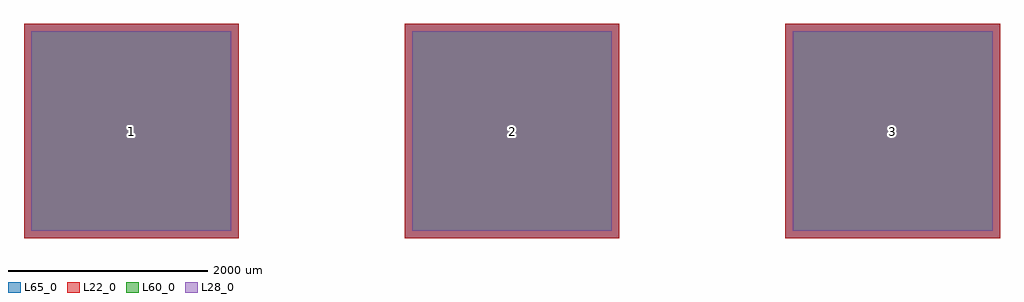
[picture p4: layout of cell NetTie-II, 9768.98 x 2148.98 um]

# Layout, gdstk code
import gdstk
lib = gdstk.Library(unit=1e-6, precision=1e-09)
def R(c, l, rs):  # rectangles x0, y0, x1, y1
    for r in rs: c.add(gdstk.rectangle(r[:2], r[2:], *l))
def A(c, l, x, y, w, h, nx, ny, dx, dy):  # array of equal rectangles
    R(c, l, [(x+i*dx, y+j*dy, x+i*dx+w, y+j*dy+h) for i in range(nx) for j in range(ny)])
L22_0 = (22, 0)
L28_0 = (28, 0)
L60_0 = (60, 0)
L65_0 = (65, 0)

nettie_ii = lib.new_cell('NetTie-II')
A(nettie_ii, L22_0, -4884.49, -1074.49, 2148.98, 2148.98, 3, 1, 3810, 0)
A(nettie_ii, L28_0, -4809.49, -999.49, 1998.98, 1998.98, 3, 1, 3810, 0)
A(nettie_ii, L60_0, -4809.49, -999.49, 1998.98, 1998.98, 3, 1, 3810, 0)
A(nettie_ii, L65_0, -4884.49, -1074.49, 2148.98, 2148.98, 3, 1, 3810, 0)
nettie_ii.add(gdstk.Label('3', (3810,0), layer=28, texttype=0))
nettie_ii.add(gdstk.Label('2', (0,0), layer=28, texttype=0))
nettie_ii.add(gdstk.Label('1', (-3810,0), layer=28, texttype=0))
nettie_ii.add(gdstk.Label('type', (0,3048), layer=9, texttype=0))
nettie_ii.add(gdstk.Label('devicename', (-40.64,-4069.08), layer=9, texttype=0))

lib.write_gds('NetTie-II.gds')
